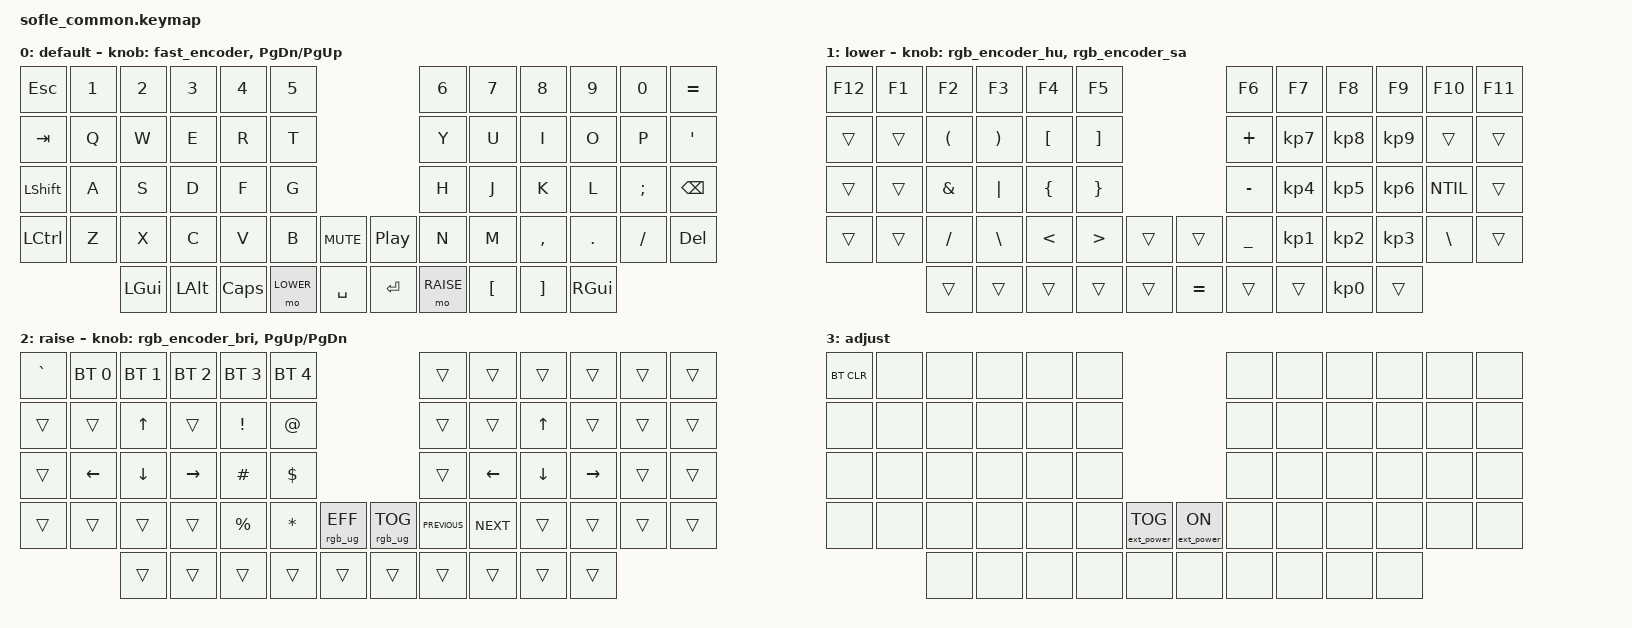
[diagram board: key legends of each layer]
#include <behaviors.dtsi>
#include <dt-bindings/zmk/bt.h>
#include <dt-bindings/zmk/ext_power.h>
#include <dt-bindings/zmk/keys.h>
#include <dt-bindings/zmk/rgb.h>

#define BASE 0
#define LOWER 1
#define RAISE 2
#define ADJUST 3

/ {
    behaviors {
        fast_encoder: fast_encoder {
            compatible = "zmk,behavior-sensor-rotate";
            #sensor-binding-cells = <0>;
            bindings = <&macro_fast_vol_dn>, <&macro_fast_vol_up>;
        };

        rgb_encoder_bri: rgb_encoder_bri {
            compatible = "zmk,behavior-sensor-rotate";
            #sensor-binding-cells = <0>;
            bindings = <&rgb_ug RGB_BRD>, <&rgb_ug RGB_BRI>;
        };

        rgb_encoder_hu: rgb_encoder_hu {
            compatible = "zmk,behavior-sensor-rotate";
            #sensor-binding-cells = <0>;
            bindings = <&rgb_ug RGB_HUD>, <&rgb_ug RGB_HUI>;
        };

        rgb_encoder_sa: rgb_encoder_sa {
            compatible = "zmk,behavior-sensor-rotate";
            #sensor-binding-cells = <0>;
            bindings = <&rgb_ug RGB_SAD>, <&rgb_ug RGB_SAI>;
        };
    };

    macros {
        macro_fast_vol_up: macro_fast_vol_up {
            compatible = "zmk,behavior-macro";
            #binding-cells = <0>;
            wait-ms = <0>;
            tap-ms = <0>;
            bindings = <&kp C_VOL_UP &kp C_VOL_UP>;
        };

        macro_fast_vol_dn: macro_fast_vol_dn {
            compatible = "zmk,behavior-macro";
            #binding-cells = <0>;
            wait-ms = <0>;
            tap-ms = <0>;
            bindings = <&kp C_VOL_DN &kp C_VOL_DN>;
        };

        NTIL: NTIL {
            compatible = "zmk,behavior-macro";
            #binding-cells = <0>;
            bindings =
                <&macro_press>,
                <&kp LALT>,
                <&macro_tap>,
                <&kp KP_N1 &kp KP_N6 &kp KP_N4>,
                <&macro_release>,
                <&kp LALT>;
        };
    };

    //Activate ADJUST layer by pressing raise and lower

    conditional_layers {
        compatible = "zmk,conditional-layers";

        adjust_layer {
            if-layers = <LOWER RAISE>;
            then-layer = <ADJUST>;
        };
    };

    keymap {
        compatible = "zmk,keymap";

        default_layer {
            display-name = "default";

            // ╭─────────────┬─────────────┬─────────────┬─────────────┬─────────────┬─────────────╮                               ╭─────────────┬─────────────┬─────────────┬─────────────┬─────────────┬─────────────╮
            // |     ESC     |      1      |      2      |      3      |      4      |      5      |                               |      6      |      7      |      8      |      9      |      0      |     EQUAL   |
            // ├─────────────┼─────────────┼─────────────┼─────────────┼─────────────┼─────────────┤                               ├─────────────┼─────────────┼─────────────┼─────────────┼─────────────┼─────────────┤
            // |     TAB     |      Q      |      W      |      E      |      R      |      T      |                               |      Y      |      U      |      I      |      O      |      P      |      '      |
            // ├─────────────┼─────────────┼─────────────┼─────────────┼─────────────┼─────────────┤                               ├─────────────┼─────────────┼─────────────┼─────────────┼─────────────┼─────────────┤
            // |     SHIFT   |      A      |      S      |      D      |      F      |      G      |                               |      H      |      J      |      K      |      L      |      ;      |     BSPC    |
            // ├─────────────┼─────────────┼─────────────┼─────────────┼─────────────┼─────────────┬─────────────╮    ╭────────────┼─────────────┼─────────────┼─────────────┼─────────────┼─────────────┼─────────────┤
            // |     CTRL    |      Z      |      X      |      C      |      V      |      B      |     MUTE    |    |     RGB    |      N      |      M      |      ,      |      .      |      /      |     DEL     |
            // ╰─────────────┴─────────────┴─────────────┼─────────────┼─────────────┼─────────────├─────────────┤    ├────────────┼─────────────┼─────────────┼─────────────┼─────────────┼─────────────┼─────────────╯
            //                             |     GUI     |     ALT     |     CAPS    |     LOWER   |    ENTER    |    |   SPACE    |    RAISE    |    HOME     |     END     |     GUI     |
            //                             ╰─────────────┴─────────────┴─────────────┴─────────────┴─────────────╯    ╰────────────┴─────────────┴─────────────┴─────────────┴─────────────╯

            bindings = <
&kp ESC    &kp N1  &kp N2    &kp N3    &kp N4    &kp N5                                     &kp N6     &kp N7            &kp N8             &kp N9    &kp N0    &kp EQUAL
&kp TAB    &kp Q   &kp W     &kp E     &kp R     &kp T                                      &kp Y      &kp U             &kp I              &kp O     &kp P     &kp SQT
&kp LSHFT  &kp A   &kp S     &kp D     &kp F     &kp G                                      &kp H      &kp J             &kp K              &kp L     &kp SEMI  &kp BSPC
&kp LCTRL  &kp Z   &kp X     &kp C     &kp V     &kp B      &kp C_MUTE    &kp C_PLAY_PAUSE  &kp N      &kp M             &kp COMMA          &kp DOT   &kp FSLH  &kp DEL
                   &kp LGUI  &kp LALT  &kp CAPS  &mo LOWER  &kp SPACE     &kp ENTER         &mo RAISE  &kp LEFT_BRACKET  &kp RIGHT_BRACKET  &kp RGUI
            >;

            sensor-bindings = <&fast_encoder>, <&inc_dec_kp PAGE_DOWN PAGE_UP>;
        };

        lower_layer {
            display-name = "lower";

            // ╭─────────────┬─────────────┬─────────────┬─────────────┬─────────────┬─────────────╮                               ╭─────────────┬─────────────┬─────────────┬─────────────┬─────────────┬─────────────╮
            // |     F12     |      F1     |      F2     |     F3      |      F4     |      F5     |                               |      F6     |      F7     |      F8     |      F9     |      F10    |     F11     |
            // ├─────────────┼─────────────┼─────────────┼─────────────┼─────────────┼─────────────┤                               ├─────────────┼─────────────┼─────────────┼─────────────┼─────────────┼─────────────┤
            // |             |             |      (      |      )      |      [      |      ]      |                               |      +      |      7      |      8      |      9      |             |             |
            // ├─────────────┼─────────────┼─────────────┼─────────────┼─────────────┼─────────────┤                               ├─────────────┼─────────────┼─────────────┼─────────────┼─────────────┼─────────────┤
            // |             |             |      &      |      |      |      {      |      }      |                               |      -      |      4      |      5      |      6      |      ñ      |             |
            // ├─────────────┼─────────────┼─────────────┼─────────────┼─────────────┼─────────────┬─────────────╮    ╭────────────┼─────────────┼─────────────┼─────────────┼─────────────┼─────────────┼─────────────┤
            // |             |             |      /      |      \      |      <      |      >      |             |    |            |      _      |      1      |      2      |      3      |      \      |             |
            // ╰─────────────┴─────────────┴─────────────┼─────────────┼─────────────┼─────────────├─────────────┤    ├────────────┼─────────────┼─────────────┼─────────────┼─────────────┼─────────────┼─────────────╯
            //                             |             |             |             |             |             |    |     =      |             |             |      0      |             |
            //                             ╰─────────────┴─────────────┴─────────────┴─────────────┴─────────────╯    ╰────────────┴─────────────┴─────────────┴─────────────┴─────────────╯

            bindings = <
&kp F12  &kp F1  &kp F2    &kp F3    &kp F4    &kp F5                         &kp F6     &kp F7     &kp F8     &kp F9     &kp F10   &kp F11
&trans   &trans  &kp LPAR  &kp RPAR  &kp LBKT  &kp RBKT                       &kp PLUS   &kp KP_N7  &kp KP_N8  &kp KP_N9  &trans    &trans
&trans   &trans  &kp AMPS  &kp PIPE  &kp LBRC  &kp RBRC                       &kp MINUS  &kp KP_N4  &kp KP_N5  &kp KP_N6  &NTIL     &trans
&trans   &trans  &kp FSLH  &kp BSLH  &kp LT    &kp GT    &trans    &trans     &kp UNDER  &kp KP_N1  &kp KP_N2  &kp KP_N3  &kp BSLH  &trans
                 &trans    &trans    &trans    &trans    &trans    &kp EQUAL  &trans     &trans     &kp KP_N0  &trans
            >;

            sensor-bindings = <&rgb_encoder_hu>, <&rgb_encoder_sa>;
        };

        raise_layer {
            display-name = "raise";

            // ╭─────────────┬─────────────┬─────────────┬─────────────┬─────────────┬─────────────╮                               ╭─────────────┬─────────────┬─────────────┬─────────────┬─────────────┬─────────────╮
            // |    BTCLR    |     BT1     |     BT2     |     BT3     |     BT4     |     BT5     |                               |             |             |             |             |             |             |
            // ├─────────────┼─────────────┼─────────────┼─────────────┼─────────────┼─────────────┤                               ├─────────────┼─────────────┼─────────────┼─────────────┼─────────────┼─────────────┤
            // |             |             |             |             |      !      |      @      |                               |             |             |      ^      |             |             |             |
            // ├─────────────┼─────────────┼─────────────┼─────────────┼─────────────┼─────────────┤                               ├─────────────┼─────────────┼─────────────┼─────────────┼─────────────┼─────────────┤
            // |             |             |             |             |      #      |      $      |                               |             |      <-     |      v      |     ->      |             |             |
            // ├─────────────┼─────────────┼─────────────┼─────────────┼─────────────┼─────────────┬─────────────╮    ╭────────────┼─────────────┼─────────────┼─────────────┼─────────────┼─────────────┼─────────────┤
            // |             |             |             |             |      %      |      *      |   RGB_EFF   |    |            |             |             |             |             |             |             |
            // ╰─────────────┴─────────────┴─────────────┼─────────────┼─────────────┼─────────────├─────────────┤    ├────────────┼─────────────┼─────────────┼─────────────┼─────────────┼─────────────┼─────────────╯
            //                             |             |             |             |             |             |    |            |             |             |             |             |
            //                             ╰─────────────┴─────────────┴─────────────┴─────────────┴─────────────╯    ╰────────────┴─────────────┴─────────────┴─────────────┴─────────────╯

            bindings = <
&kp GRAVE  &bt BT_SEL 0  &bt BT_SEL 1  &bt BT_SEL 2  &bt BT_SEL 3  &bt BT_SEL 4                                      &trans          &trans      &trans    &trans     &trans  &trans
&trans     &trans        &kp UP        &trans        &kp EXCL      &kp AT                                            &trans          &trans      &kp UP    &trans     &trans  &trans
&trans     &kp LEFT      &kp DOWN      &kp RIGHT     &kp HASH      &kp DLLR                                          &trans          &kp LEFT    &kp DOWN  &kp RIGHT  &trans  &trans
&trans     &trans        &trans        &trans        &kp PRCNT     &kp ASTRK     &rgb_ug RGB_EFF    &rgb_ug RGB_TOG  &kp C_PREVIOUS  &kp C_NEXT  &trans    &trans     &trans  &trans
                         &trans        &trans        &trans        &trans        &trans             &trans           &trans          &trans      &trans    &trans
            >;

            sensor-bindings = <&rgb_encoder_bri &inc_dec_kp PG_UP PG_DN>;
        };

        adjust_layer {
            // ╭─────────────┬─────────────┬─────────────┬─────────────┬─────────────┬─────────────╮                               ╭─────────────┬─────────────┬─────────────┬─────────────┬─────────────┬─────────────╮
            // |             |             |             |             |             |             |                               |             |             |             |             |             |             |
            // ├─────────────┼─────────────┼─────────────┼─────────────┼─────────────┼─────────────┤                               ├─────────────┼─────────────┼─────────────┼─────────────┼─────────────┼─────────────┤
            // |             |             |             |             |             |             |                               |             |             |             |             |             |             |
            // ├─────────────┼─────────────┼─────────────┼─────────────┼─────────────┼─────────────┤                               ├─────────────┼─────────────┼─────────────┼─────────────┼─────────────┼─────────────┤
            // |             |             |             |             |             |             |                               |             |             |             |             |             |             |
            // ├─────────────┼─────────────┼─────────────┼─────────────┼─────────────┼─────────────┬─────────────╮    ╭────────────┼─────────────┼─────────────┼─────────────┼─────────────┼─────────────┼─────────────┤
            // |             |             |             |             |             |             |   EXTPWR    |    |   EP_ON    |             |             |             |             |             |             |
            // ╰─────────────┴─────────────┴─────────────┼─────────────┼─────────────┼─────────────├─────────────┤    ├────────────┼─────────────┼─────────────┼─────────────┼─────────────┼─────────────┼─────────────╯
            //                             |             |             |             |             |             |    |            |             |             |             |             |
            //                             ╰─────────────┴─────────────┴─────────────┴─────────────┴─────────────╯    ╰────────────┴─────────────┴─────────────┴─────────────┴─────────────╯

            display-name = "adjust";
            bindings = <
&bt BT_CLR  &none  &none  &none  &none  &none                                         &none  &none  &none  &none  &none  &none
&none       &none  &none  &none  &none  &none                                         &none  &none  &none  &none  &none  &none
&none       &none  &none  &none  &none  &none                                         &none  &none  &none  &none  &none  &none
&none       &none  &none  &none  &none  &none  &ext_power EP_TOG    &ext_power EP_ON  &none  &none  &none  &none  &none  &none
                   &none  &none  &none  &none  &none                &none             &none  &none  &none  &none
            >;
        };
    };
};
